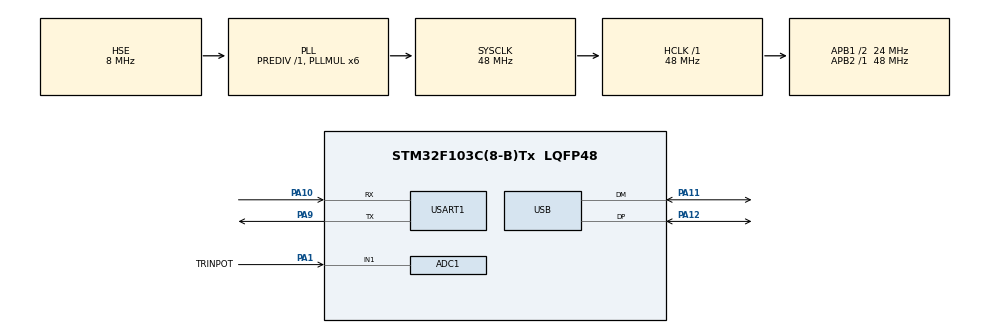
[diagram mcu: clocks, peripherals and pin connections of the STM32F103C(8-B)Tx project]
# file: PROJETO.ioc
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ADC1.Channel-0\#ChannelRegularConversion=ADC_CHANNEL_1
ADC1.NbrOfConversionFlag=1
ADC1.Rank-0\#ChannelRegularConversion=1
ADC1.SamplingTime-0\#ChannelRegularConversion=ADC_SAMPLETIME_1CYCLE_5
ADC1.master=1
Mcu.Family=STM32F1
Mcu.Name=STM32F103C(8-B)Tx
Mcu.Package=LQFP48
NVIC.PriorityGroup=NVIC_PRIORITYGROUP_4
NVIC.USB_LP_CAN1_RX0_IRQn=true\:0\:0\:false\:false\:true\:false\:true
PA1.GPIO_Label=TRINPOT
PA1.Signal=ADCx_IN1
PA10.Mode=Asynchronous
PA10.Signal=USART1_RX
PA11.Mode=Device
PA11.Signal=USB_DM
PA12.Mode=Device
PA12.Signal=USB_DP
PA13.Mode=Serial_Wire
PA13.Signal=SYS_JTMS-SWDIO
PA14.Mode=Serial_Wire
PA14.Signal=SYS_JTCK-SWCLK
PA9.Mode=Asynchronous
PA9.Signal=USART1_TX
PD0-OSC_IN.Mode=HSE-External-Oscillator
PD0-OSC_IN.Signal=RCC_OSC_IN
PD1-OSC_OUT.Mode=HSE-External-Oscillator
PD1-OSC_OUT.Signal=RCC_OSC_OUT
ProjectManager.HeapSize=0x200
ProjectManager.StackSize=0x400
ProjectManager.TargetToolchain=STM32CubeIDE
RCC.ADCPresc=RCC_ADCPCLK2_DIV4
RCC.AHBFreq_Value=48000000
RCC.APB1CLKDivider=RCC_HCLK_DIV2
RCC.APB1Freq_Value=24000000
RCC.APB1TimFreq_Value=48000000
RCC.APB2Freq_Value=48000000
RCC.APB2TimFreq_Value=48000000
RCC.HCLKFreq_Value=48000000
RCC.PLLMUL=RCC_PLL_MUL6
RCC.SYSCLKFreq_VALUE=48000000
RCC.SYSCLKSource=RCC_SYSCLKSOURCE_PLLCLK
RCC.USBFreq_Value=48000000
SH.ADCx_IN1.0=ADC1_IN1,IN1
USART1.VirtualMode=VM_ASYNC
USB_DEVICE.CLASS_NAME_FS=CDC
USB_DEVICE.VirtualMode=Cdc
USB_DEVICE.VirtualModeFS=Cdc_FS
VP_USB_DEVICE_VS_USB_DEVICE_CDC_FS.Mode=CDC_FS
board=custom

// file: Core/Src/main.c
/* USER CODE BEGIN Header */
/**
  ******************************************************************************
  * @file           : main.c
  * @brief          : Main program body
  ******************************************************************************
  * @attention
  *
  * <h2><center>&copy; Copyright (c) 2026 STMicroelectronics.
  * All rights reserved.</center></h2>
  *
  * This software component is licensed by ST under BSD 3-Clause license,
  * the "License"; You may not use this file except in compliance with the
  * License. You may obtain a copy of the License at:
  *                        opensource.org/licenses/BSD-3-Clause
  *
  ******************************************************************************
  */
/* USER CODE END Header */
#include "main.h"
#include "usb_device.h"

ADC_HandleTypeDef hadc1;

UART_HandleTypeDef huart1;

void SystemClock_Config(void);
static void MX_GPIO_Init(void);
static void MX_ADC1_Init(void);
static void MX_USART1_UART_Init(void);

int main(void)
{

  /* MCU Configuration--------------------------------------------------------*/

  /* Reset of all peripherals, Initializes the Flash interface and the Systick. */
	HAL_Init();

  /* Configure the system clock */
  SystemClock_Config();

  /* Initialize all configured peripherals */
  MX_GPIO_Init();
  MX_ADC1_Init();
  MX_USART1_UART_Init();
  MX_USB_DEVICE_Init();

  /* Infinite loop */
  /* USER CODE BEGIN WHILE */
  while (1)
  {
      uint32_t soma = 0;
      uint16_t valor_adc;
      uint16_t valor_filtrado;
      uint8_t NUM_LEITURAS = 10;
      uint8_t mensagem[6];

      for (int i = 0; i < NUM_LEITURAS; i++)
      {
          HAL_ADC_Start(&hadc1);

          HAL_ADC_PollForConversion(&hadc1, HAL_MAX_DELAY);

          valor_adc = HAL_ADC_GetValue(&hadc1);

          HAL_ADC_Stop(&hadc1);

          soma += valor_adc;

          HAL_Delay(1000);
      }

      valor_filtrado = soma / NUM_LEITURAS;

      mensagem[0] = 0x40;   // é igual ao @
      mensagem[1] = 0x01;   // ID do dispositivo
      mensagem[2] = 0x7C;   // é o separador
      mensagem[3] = (valor_filtrado >> 8);     // valor alta do byte
      mensagem[4] = valor_filtrado & 0xFF;   // valor baixo do byte
      mensagem[5] = 0x23; //finaliza.

      CDC_Transmit_FS(mensagem, 6);

      HAL_Delay(1000);
  }
    /* USER CODE END WHILE */

  }

void SystemClock_Config(void)
{
  RCC_OscInitTypeDef RCC_OscInitStruct = {0};
  RCC_ClkInitTypeDef RCC_ClkInitStruct = {0};
  RCC_PeriphCLKInitTypeDef PeriphClkInit = {0};

  /** Initializes the RCC Oscillators according to the specified parameters
  * in the RCC_OscInitTypeDef structure.
  */
  RCC_OscInitStruct.OscillatorType = RCC_OSCILLATORTYPE_HSE;
  RCC_OscInitStruct.HSEState = RCC_HSE_ON;
  RCC_OscInitStruct.HSEPredivValue = RCC_HSE_PREDIV_DIV1;
  RCC_OscInitStruct.HSIState = RCC_HSI_ON;
  RCC_OscInitStruct.PLL.PLLState = RCC_PLL_ON;
  RCC_OscInitStruct.PLL.PLLSource = RCC_PLLSOURCE_HSE;
  RCC_OscInitStruct.PLL.PLLMUL = RCC_PLL_MUL6;
  if (HAL_RCC_OscConfig(&RCC_OscInitStruct) != HAL_OK)
  {
    Error_Handler();
  }
  /** Initializes the CPU, AHB and APB buses clocks
  */
  RCC_ClkInitStruct.ClockType = RCC_CLOCKTYPE_HCLK|RCC_CLOCKTYPE_SYSCLK
                              |RCC_CLOCKTYPE_PCLK1|RCC_CLOCKTYPE_PCLK2;
  RCC_ClkInitStruct.SYSCLKSource = RCC_SYSCLKSOURCE_PLLCLK;
  RCC_ClkInitStruct.AHBCLKDivider = RCC_SYSCLK_DIV1;
  RCC_ClkInitStruct.APB1CLKDivider = RCC_HCLK_DIV2;
  RCC_ClkInitStruct.APB2CLKDivider = RCC_HCLK_DIV1;

  if (HAL_RCC_ClockConfig(&RCC_ClkInitStruct, FLASH_LATENCY_1) != HAL_OK)
  {
    Error_Handler();
  }
  PeriphClkInit.PeriphClockSelection = RCC_PERIPHCLK_ADC|RCC_PERIPHCLK_USB;
  PeriphClkInit.AdcClockSelection = RCC_ADCPCLK2_DIV4;
  PeriphClkInit.UsbClockSelection = RCC_USBCLKSOURCE_PLL;
  if (HAL_RCCEx_PeriphCLKConfig(&PeriphClkInit) != HAL_OK)
  {
    Error_Handler();
  }
}

static void MX_ADC1_Init(void)
{

  ADC_ChannelConfTypeDef sConfig = {0};

  /** Common config
  */
  hadc1.Instance = ADC1;
  hadc1.Init.ScanConvMode = ADC_SCAN_DISABLE;
  hadc1.Init.ContinuousConvMode = DISABLE;
  hadc1.Init.DiscontinuousConvMode = DISABLE;
  hadc1.Init.ExternalTrigConv = ADC_SOFTWARE_START;
  hadc1.Init.DataAlign = ADC_DATAALIGN_RIGHT;
  hadc1.Init.NbrOfConversion = 1;
  if (HAL_ADC_Init(&hadc1) != HAL_OK)
  {
    Error_Handler();
  }
  /** Configure Regular Channel
  */
  sConfig.Channel = ADC_CHANNEL_1;
  sConfig.Rank = ADC_REGULAR_RANK_1;
  sConfig.SamplingTime = ADC_SAMPLETIME_1CYCLE_5;
  if (HAL_ADC_ConfigChannel(&hadc1, &sConfig) != HAL_OK)
  {
    Error_Handler();
  }

}

static void MX_USART1_UART_Init(void)
{

  huart1.Instance = USART1;
  huart1.Init.BaudRate = 115200;
  huart1.Init.WordLength = UART_WORDLENGTH_8B;
  huart1.Init.StopBits = UART_STOPBITS_1;
  huart1.Init.Parity = UART_PARITY_NONE;
  huart1.Init.Mode = UART_MODE_TX_RX;
  huart1.Init.HwFlowCtl = UART_HWCONTROL_NONE;
  huart1.Init.OverSampling = UART_OVERSAMPLING_16;
  if (HAL_UART_Init(&huart1) != HAL_OK)
  {
    Error_Handler();
  }

}

static void MX_GPIO_Init(void)
{

  /* GPIO Ports Clock Enable */
  __HAL_RCC_GPIOD_CLK_ENABLE();
  __HAL_RCC_GPIOA_CLK_ENABLE();

}

void Error_Handler(void)
{
  __disable_irq();
  while (1)
  {
  }
}

/************************ (C) COPYRIGHT STMicroelectronics *****END OF FILE****/
